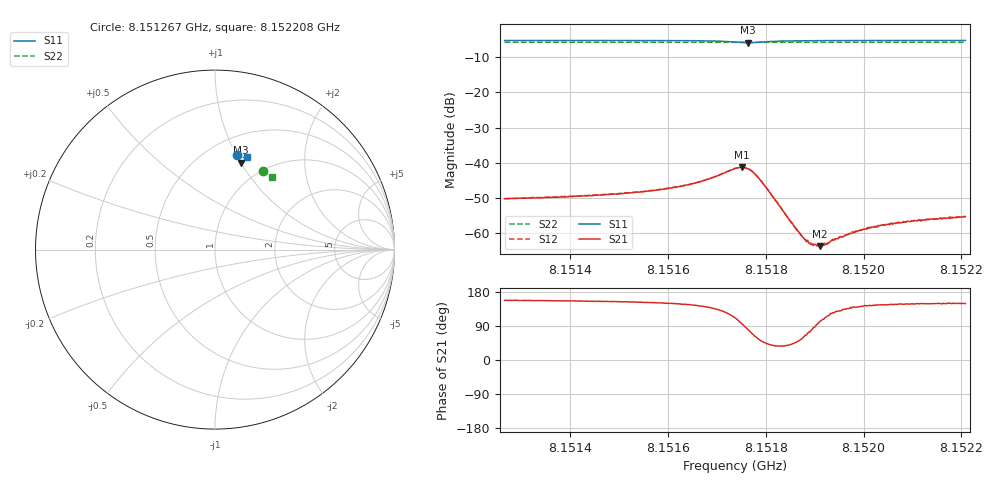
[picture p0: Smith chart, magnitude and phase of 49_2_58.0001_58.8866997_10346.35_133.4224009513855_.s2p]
#  HZ  S  RI  R  50.00
! Rohde & Schwarz Vector Network Analyzer
! Rohde-Schwarz,ZNB20-2Port,1311601062101988,3.16
! Created: UTC 3/21/2024, 12:52:25 AM
! freq[Hz]  re:S11  im:S11  re:S21  im:S21  re:S12  im:S12  re:S22  im:S22
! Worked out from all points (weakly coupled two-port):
!   401 points, 8.151267 GHz to 8.152208 GHz, reference 50 ohm
!   highest |S21| = -41.25 dB at 8.151752 GHz (marker M1); lowest = -63.6 dB at 8.151912 GHz (marker M2)
!   lowest |S11| = -5.9 dB at 8.151763 GHz (marker M3), VSWR 3.04, Z = 38.6 + j50.1 ohm
!   |S11| at or under -10 dB: nowhere
!   |S22| runs from -5.8 to -5.8 dB; largest |S21 - S12| = 0.00016
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8.1512668e9  0.1243 0.5292  -0.00287 0.0012  -0.00286 0.00125  0.2683 0.4384
8.1514244e9  0.1366 0.5261  -0.00309 0.00142  -0.0031 0.00148  0.2767 0.4328
8.1515021e9  0.143 0.5243  -0.00328 0.00164  -0.0033 0.0017  0.281 0.43
8.1515821e9  0.1506 0.5215  -0.00365 0.00203  -0.00363 0.0021  0.2853 0.4269
8.1516621e9  0.1601 0.5153  -0.00427 0.00319  -0.00427 0.00326  0.2896 0.4239
8.1517374e9  0.1638 0.4906  -0.00302 0.00775  -0.00293 0.00784  0.2931 0.4202
8.1517515e9  0.1554 0.4842  -0.000902 0.00861  -0.00079 0.00866  0.2933 0.4197
8.1517633e9  0.145 0.4836  0.00133 0.00818  0.00142 0.00822  0.2935 0.4193
8.1517751e9  0.1365 0.4892  0.00295 0.00664  0.00306 0.00665  0.2941 0.4192
8.1517916e9  0.1324 0.5004  0.00348 0.00416  0.00357 0.00417  0.2948 0.4191
8.151848e9  0.1439 0.5172  0.00121 0.000989  0.00123 0.00101  0.2983 0.4174
8.1518763e9  0.1492 0.5186  0.000452 0.000759  0.00048 0.00076  0.3001 0.4163
8.1518833e9  0.1505 0.5187  0.000308 0.000697  0.000347 0.000727  0.3004 0.416
8.1518951e9  0.1522 0.519  0.000115 0.00068  9.76e-05 0.000707  0.3011 0.4155
8.1519116e9  0.1546 0.519  -0.000144 0.000644  -0.000134 0.000668  0.302 0.4149
8.1519233e9  0.156 0.519  -0.00028 0.00064  -0.000283 0.000658  0.3026 0.4145
8.1519398e9  0.1579 0.5187  -0.000456 0.000664  -0.000452 0.000678  0.3034 0.4137
8.1519798e9  0.1622 0.5183  -0.000794 0.000662  -0.000785 0.000683  0.3054 0.4123
8.1520128e9  0.1651 0.5178  -0.000974 0.000706  -0.000977 0.000747  0.3072 0.4109
8.1520528e9  0.1689 0.517  -0.00112 0.000748  -0.00109 0.000758  0.3093 0.4093
8.1521092e9  0.1735 0.5158  -0.00128 0.00078  -0.00129 0.000822  0.3121 0.407
8.1522081e9  0.1811 0.5137  -0.00148 0.000894  -0.00147 0.000894  0.3172 0.403
